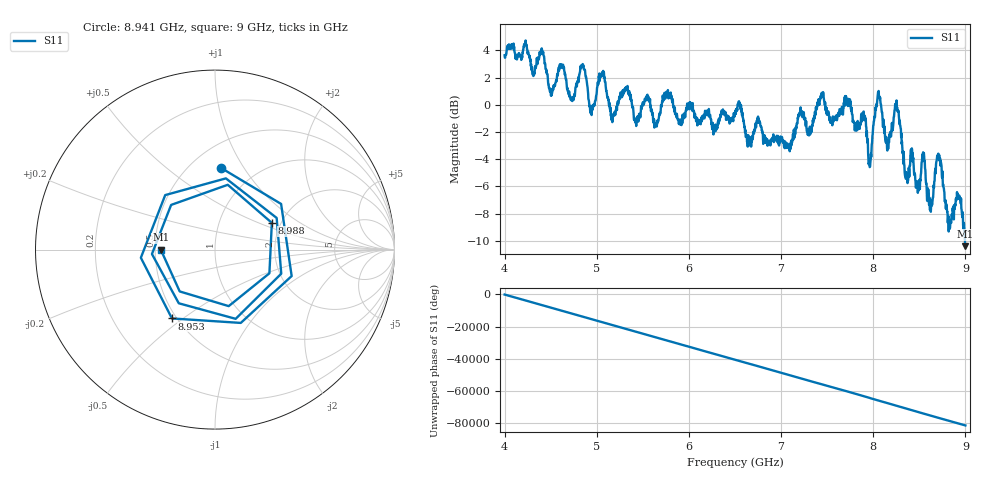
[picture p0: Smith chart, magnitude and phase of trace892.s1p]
! Created with skrf 1.8.0 (http://scikit-rf.org).
# Hz S RI R 50.0
!freq ReS11 ImS11
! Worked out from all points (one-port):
!   1601 points, 4 GHz to 9 GHz, reference 50 ohm
!   lowest |S11| = -10.4 dB at 9 GHz (marker M1), VSWR 1.87, Z = 26.8 - j0.0114 ohm
!   |S11| at or under -10 dB: 8.995204 GHz to end of sweep
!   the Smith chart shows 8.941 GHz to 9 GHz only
!   S11 on the Smith chart (normalised r, x): 8.941 GHz: 0.69, +0.80; 8.953 GHz: 0.47, -0.46; 8.988 GHz: 1.79, +0.61; 9 GHz: 0.54, -0.00
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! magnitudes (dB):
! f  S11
! 4 GHz  3.6
! 4.406 GHz  4.0
! 4.503 GHz  0.7
! 4.625 GHz  2.9
! 4.728 GHz  0.4
! 4.847 GHz  3.0
! 4.941 GHz  -0.5
! 5.053 GHz  2.1
! 5.166 GHz  -0.9
! 5.25 GHz  0.4
! 5.875 GHz  -1.0
! 6.5 GHz  -0.6
! 7.125 GHz  -2.5
! 7.444 GHz  0.8
! 7.75 GHz  0.0
! 7.962 GHz  -4.6
! 8.05 GHz  0.8
! 8.153 GHz  -3.4
! 8.253 GHz  0.3
! 8.375 GHz  -5.6
! 8.544 GHz  -4.0
! 8.625 GHz  -7.9
! 8.712 GHz  -4.0
! 8.822 GHz  -8.7
! 8.941 GHz  -6.8
! 8.953 GHz  -6.9
! 8.988 GHz  -9.1
! 9 GHz  -10.4
